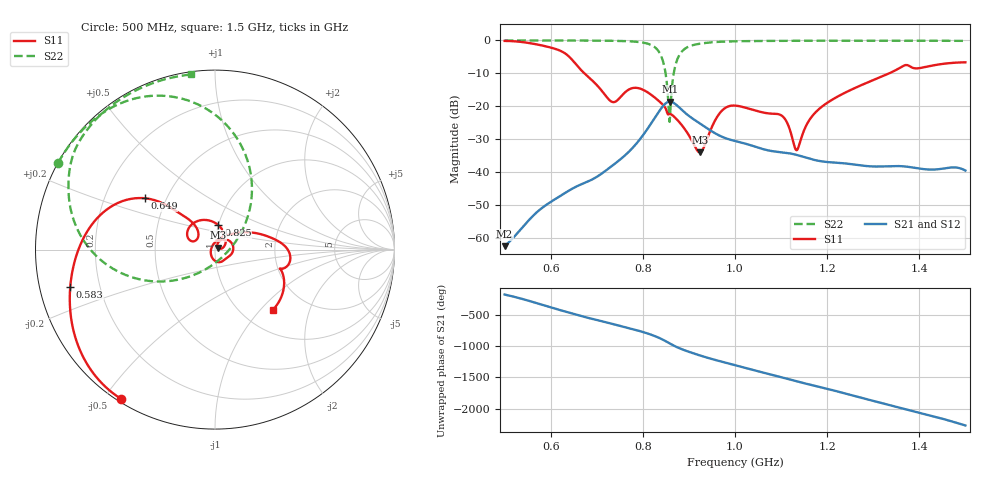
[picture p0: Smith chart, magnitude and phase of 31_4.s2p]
! TOUCHSTONE file generated by CST MICROWAVE STUDIO
! Date and time: Wed Oct 28 19:19:13 2020
! Project name: Scenario_1_Circular_Tissue_out_of_Line.cst
! Parameters = {dy1=174.23; L_HA=400; MT=2.54; Rad_Dielectric=30; Rad_Lower=7.3; Rad_Upper=30; a_HA=580; a_WG=246; b_HA=500; b_WG=121; c_HA=0; c_WG=187; d_feed=85; dx1=693; h_feed=15; h_lower=18; h_upper=40}
! Header version: 2018
! Port assignment regex: !\s*Touchstone port\s*([0-9]+)\s*=\s*(CST MWS port|CST DS port)\s*([0-9]+|Zmin|Zmax)\s*\(\"(.*)\"\)(\s*mode\s*([0-9]+))?.*
! Touchstone port assignment:
! Touchstone port 1 = CST MWS port 1 ("")
! Touchstone port 2 = CST MWS port 2 ("")
# GHz S DB R 50
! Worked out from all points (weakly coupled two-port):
!   1001 points, 500 MHz to 1.5 GHz, reference 50 ohm
!   highest |S21| = -18.59 dB at 859 MHz (marker M1); lowest = -62.5 dB at 500 MHz (marker M2)
!   lowest |S11| = -34.1 dB at 924 MHz (marker M3), VSWR 1.04, Z = 51.6 + j1.2 ohm
!   |S11| at or under -10 dB: 673.2 MHz to 1.335 GHz (661.4 MHz wide, 65.9 % of centre)
!   |S22| runs from -24.7 to 0.0 dB; largest |S21 - S12| = 0.00011
!   S11 on the Smith chart (normalised r, x): 500 MHz: 0.01, -0.55; 583 MHz: 0.09, -0.12; 649 MHz: 0.38, +0.28; 825 MHz: 1.00, +0.28; 1.5 GHz: 1.37, -1.17
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0.5  -0.15 -122.3  -62.52 -173.2  -62.52 -173.2  -0.01 151.1
0.583  -1.59 -165.6  -50.72 18.1  -50.72 18.1  -0.02 145.4
0.618  -2.97 170.4  -47.50 -57.1  -47.50 -57.1  -0.02 142.7
0.649  -6.28 143.9  -44.89 -121.9  -44.89 -121.9  -0.03 140.0
0.667  -9.15 136.9  -43.68 -159.0  -43.68 -159.0  -0.04 138.3
0.733  -18.66 144.3  -38.14 78.6  -38.14 78.6  -0.11 130.4
0.781  -14.41 136.7  -32.16 -13.1  -32.16 -13.1  -0.35 120.0
0.825  -17.25 82.0  -23.72 -115.2  -23.72 -115.2  -1.96 94.9
0.834  -18.31 72.0  -21.80 -142.7  -21.80 -142.7  -3.27 83.7
0.848  -20.31 59.4  -19.32 166.9  -19.32 166.9  -8.93 55.2
0.855  -22.50 46.8  -18.68 138.5  -18.68 138.5  -18.10 21.6
0.859  -22.35 39.4  -18.59 122.0  -18.59 122.0  -23.22 -82.6
0.869  -23.33 30.7  -19.16 82.7  -19.16 82.7  -8.57 -151.5
0.878  -24.66 22.8  -20.25 51.9  -20.25 51.9  -4.77 -169.3
0.924  -34.06 35.8  -25.26 -68.1  -25.26 -68.1  -0.99 156.2
0.966  -22.26 48.0  -28.90 -157.4  -28.90 -157.4  -0.42 145.7
1  -19.80 4.4  -30.56 137.4  -30.56 137.4  -0.27 140.2
1.101  -22.82 -75.4  -33.99 -56.4  -33.99 -56.4  -0.13 129.6
1.134  -33.35 159.8  -34.80 -121.6  -34.80 -121.6  -0.11 126.8
1.167  -23.09 64.5  -36.14 176.6  -36.14 176.6  -0.09 124.2
1.334  -10.04 12.5  -38.22 -138.9  -38.22 -138.9  -0.09 111.4
1.5  -6.65 -46.1  -39.54 -108.4  -39.57 -107.8  -0.13 97.9
